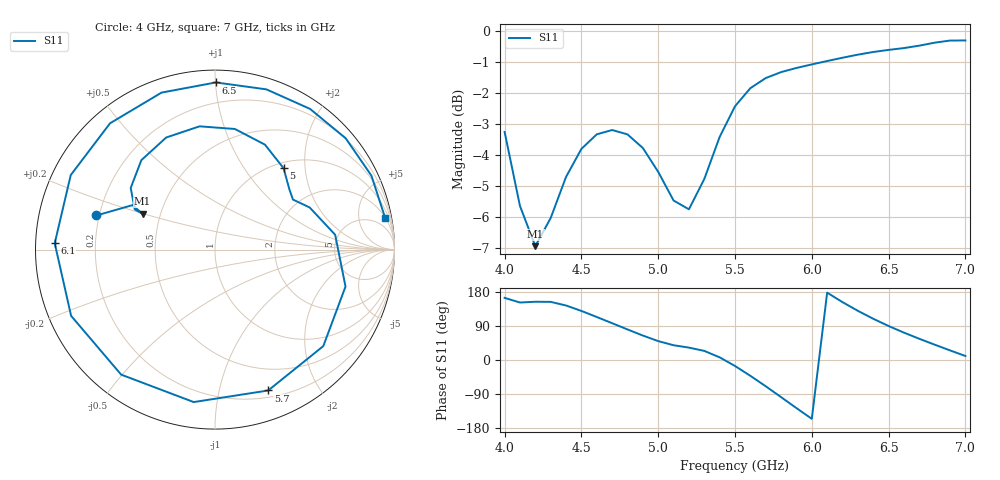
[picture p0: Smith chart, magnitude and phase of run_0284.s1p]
! Touchstone file exported from HFSS 2024.2.0
!  File:  C:/Users/wsak9/Desktop/Sim Fast/Widenad Patch/WP_AI_V1_sweep.aedt
!  Generated:  02:59:09 AM Oct 14, 2026
!  Design:  A1_model
!  Project:  WP_AI_V1_sweep
!  Setup:  Setup1
!  Solution:  Sweep
! Variables:
!  Air_gap = 2.82mm
!  Curve_Amp1 = 2.29
!  Curve_len1 = 1
!  Curve_pos = 12.52mm
!  Extra = 3.57mm
!  H_sub = 0.79mm
!  L_Patch = 21.04mm
!  L_Patch1 = 19.64mm
!  Sx = 1.05mm
!  Sy = 2.48mm
!  WS = 1.31mm
!  W_Patch = 20.71mm
!  W_Patch1 = 16.07mm
!Data is not renormalized
# GHz S MA
! Terminal data exported
! Port[1] = 1
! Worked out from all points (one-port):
!   31 points, 4 GHz to 7 GHz, reference per port
!   lowest |S11| = -6.9 dB at 4.2 GHz (marker M1), VSWR 2.64
!   |S11| at or under -10 dB: nowhere
!   S11 on the Smith chart (normalised r, x): 4 GHz: 0.19, +0.14; 5 GHz: 1.10, +1.54; 5.7 GHz: 0.27, -1.41; 6.1 GHz: 0.06, +0.02; 6.5 GHz: 0.07, +1.00; 7 GHz: 2, +10
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4  0.6874 163.9
4.1  0.5225 151.7
4.2  0.4502 153.7
4.3  0.4997 153.4
4.4  0.5818 143.8
4.5  0.6455 129.5
4.6  0.6812 113.5
4.7  0.6922 97.1
4.8  0.6811 80.7
5  0.5928 49.9
5.2  0.5161 32.7
5.3  0.5773 24.0
5.4  0.6746 7.0
5.5  0.7558 -15.8
5.6  0.8082 -41.7
5.7  0.839 -69.3
5.8  0.8577 -97.9
5.9  0.871 -126.9
6  0.8825 -155.3
6.1  0.8937 177.7
6.2  0.9046 152.7
6.3  0.915 129.7
6.4  0.9241 108.8
6.5  0.9313 89.7
6.6  0.9376 72.2
6.7  0.946 56.0
6.9  0.964 25.3
7  0.9644 10.6
